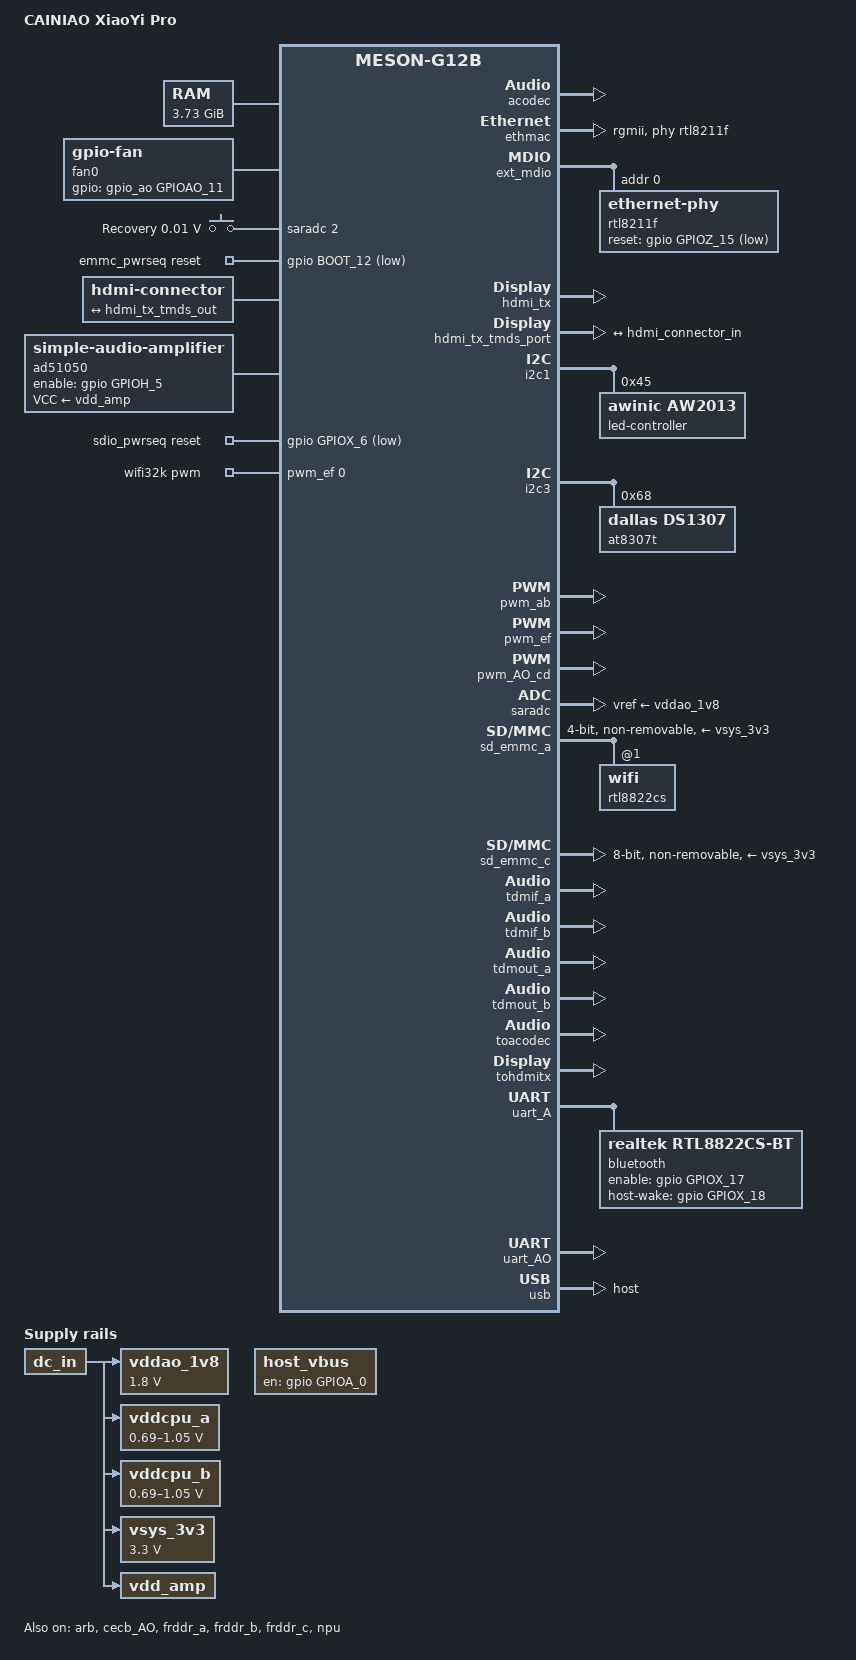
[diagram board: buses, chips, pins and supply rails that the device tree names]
// SPDX-License-Identifier: (GPL-2.0+ OR MIT)
/*
 * Copyright (c) 2019 BayLibre, SAS
 * Copyright (c) 2019 Neil Armstrong <narmstrong@baylibre.com>
 * Copyright (c) 2019 Christian Hewitt <christianshewitt@gmail.com>
 * Copyright (c) 2025 retro98boy <retro98boy@qq.com>
 */

/dts-v1/;

#include "meson-g12b-a311d.dtsi"
#include <dt-bindings/input/input.h>
#include <dt-bindings/leds/common.h>
#include <dt-bindings/gpio/meson-g12a-gpio.h>
#include <dt-bindings/sound/meson-g12a-toacodec.h>
#include <dt-bindings/sound/meson-g12a-tohdmitx.h>

/ {
	compatible = "cainiao,xiaoyi-pro", "amlogic,a311d", "amlogic,g12b";
	model = "CAINIAO XiaoYi Pro";

	aliases {
		serial0 = &uart_AO;
		ethernet0 = &ethmac;
		rtc0 = &at8307t;
		rtc1 = &vrtc;
	};

	chosen {
		stdout-path = "serial0:115200n8";
	};

	memory@0 {
		device_type = "memory";
		reg = <0x0 0x0 0x0 0xee6b2800>; /* 4GB */
	};

	multi-led {
		compatible = "leds-group-multicolor";
		color = <LED_COLOR_ID_RGB>;
		function = LED_FUNCTION_INDICATOR;
		leds = <&led0>, <&led1>, <&led2>;
	};

	fan0: gpio-fan {
		compatible = "gpio-fan";
		gpio-fan,speed-map = <0 0 3000 1>;
		gpios = <&gpio_ao GPIOAO_11 GPIO_ACTIVE_HIGH>;
		#cooling-cells = <2>;
	};

	adc-keys {
		compatible = "adc-keys";
		io-channels = <&saradc 2>;
		io-channel-names = "buttons";
		keyup-threshold-microvolt = <1710000>;
		poll-interval = <100>;

		button-recovery {
			label = "Recovery";
			linux,code = <KEY_VENDOR>;
			press-threshold-microvolt = <10000>;
		};
	};

	emmc_pwrseq: emmc-pwrseq {
		compatible = "mmc-pwrseq-emmc";
		reset-gpios = <&gpio BOOT_12 GPIO_ACTIVE_LOW>;
	};

	hdmi-connector {
		compatible = "hdmi-connector";
		type = "a";

		port {
			hdmi_connector_in: endpoint {
				remote-endpoint = <&hdmi_tx_tmds_out>;
			};
		};
	};

	ad51050: speaker-amplifier {
		compatible = "simple-audio-amplifier";
		enable-gpios = <&gpio GPIOH_5 GPIO_ACTIVE_HIGH>;
		VCC-supply = <&vdd_amp>;
		sound-name-prefix = "Speaker Amplifier";
	};

	sdio_pwrseq: sdio-pwrseq {
		compatible = "mmc-pwrseq-simple";
		reset-gpios = <&gpio GPIOX_6 GPIO_ACTIVE_LOW>;
		clocks = <&wifi32k>;
		clock-names = "ext_clock";
	};

	wifi32k: wifi32k {
		compatible = "pwm-clock";
		#clock-cells = <0>;
		clock-frequency = <32768>;
		pwms = <&pwm_ef 0 30518 0>; /* PWM_E at 32.768KHz */
	};

	dc_in: regulator-dc-in {
		compatible = "regulator-fixed";
		regulator-name = "dc_in";
		regulator-always-on;
		regulator-boot-on;
	};

	vddao_1v8: regulator-vddao-1v8 {
		compatible = "regulator-fixed";
		regulator-name = "vddao_1v8";
		regulator-min-microvolt = <1800000>;
		regulator-max-microvolt = <1800000>;
		regulator-always-on;
		regulator-boot-on;
		vin-supply = <&dc_in>;
	};

	vddcpu_a: regulator-vddcpu-a {
		compatible = "pwm-regulator";
		regulator-name = "VDDCPU_A";
		regulator-min-microvolt = <690000>;
		regulator-max-microvolt = <1050000>;
		pwm-supply = <&dc_in>;
		pwms = <&pwm_ab 0 1250 0>;
		pwm-dutycycle-range = <100 0>;
		regulator-boot-on;
		regulator-always-on;
	};

	vddcpu_b: regulator-vddcpu-b {
		compatible = "pwm-regulator";
		regulator-name = "VDDCPU_B";
		regulator-min-microvolt = <690000>;
		regulator-max-microvolt = <1050000>;
		pwm-supply = <&dc_in>;
		pwms = <&pwm_AO_cd 1 1250 0>;
		pwm-dutycycle-range = <100 0>;
		regulator-boot-on;
		regulator-always-on;
	};

	vsys_3v3: regulator-vsys-3v3 {
		compatible = "regulator-fixed";
		regulator-name = "vsys_3v3";
		regulator-min-microvolt = <3300000>;
		regulator-max-microvolt = <3300000>;
		regulator-always-on;
		regulator-boot-on;
		vin-supply = <&dc_in>;
	};

	host_vbus: regulator-host-vbus {
		compatible = "regulator-fixed";
		enable-active-high;
		gpio = <&gpio GPIOA_0 GPIO_ACTIVE_HIGH>;
		regulator-name = "host_vbus";
		regulator-always-on;
		regulator-boot-on;
	};

	vdd_amp: regulator-vdd-amp {
		compatible = "regulator-fixed";
		regulator-name = "vdd_amp";
		regulator-always-on;
		regulator-boot-on;
		vin-supply = <&dc_in>;
	};

	/* Similar to CAINIAO CNIoT-CORE */
	sound {
		compatible = "amlogic,axg-sound-card";
		model = "cniot-core";
		audio-widgets = "Speaker", "Internal Speaker";
		audio-aux-devs = <&tdmout_a>, <&tdmout_b>, <&ad51050>;
		audio-routing = "TDMOUT_A IN 0", "FRDDR_A OUT 0",
				"TDMOUT_A IN 1", "FRDDR_B OUT 0",
				"TDMOUT_A IN 2", "FRDDR_C OUT 0",
				"TDM_A Playback", "TDMOUT_A OUT",
				"TDMOUT_B IN 0", "FRDDR_A OUT 1",
				"TDMOUT_B IN 1", "FRDDR_B OUT 1",
				"TDMOUT_B IN 2", "FRDDR_C OUT 1",
				"TDM_B Playback", "TDMOUT_B OUT",
				"Speaker Amplifier INL", "ACODEC LOLP",
				"Speaker Amplifier INR", "ACODEC LORP",
				"Internal Speaker", "Speaker Amplifier OUTL",
				"Internal Speaker", "Speaker Amplifier OUTR";

		clocks = <&clkc CLKID_MPLL2>,
			 <&clkc CLKID_MPLL0>,
			 <&clkc CLKID_MPLL1>;

		assigned-clocks = <&clkc CLKID_MPLL2>,
				  <&clkc CLKID_MPLL0>,
				  <&clkc CLKID_MPLL1>;
		assigned-clock-parents = <0>, <0>, <0>;
		assigned-clock-rates = <294912000>,
				       <270950400>,
				       <393216000>;

		dai-link-0 {
			sound-dai = <&frddr_a>;
		};

		dai-link-1 {
			sound-dai = <&frddr_b>;
		};

		dai-link-2 {
			sound-dai = <&frddr_c>;
		};

		/* 8ch hdmi interface */
		dai-link-3 {
			sound-dai = <&tdmif_a>;
			dai-format = "i2s";
			dai-tdm-slot-tx-mask-0 = <1 1>;
			dai-tdm-slot-tx-mask-1 = <1 1>;
			dai-tdm-slot-tx-mask-2 = <1 1>;
			dai-tdm-slot-tx-mask-3 = <1 1>;
			mclk-fs = <256>;

			codec-0 {
				sound-dai = <&tohdmitx TOHDMITX_I2S_IN_A>;
			};

			codec-1 {
				sound-dai = <&toacodec TOACODEC_IN_A>;
			};
		};

		/* 8ch hdmi interface */
		dai-link-4 {
			sound-dai = <&tdmif_b>;
			dai-format = "i2s";
			dai-tdm-slot-tx-mask-0 = <1 1>;
			dai-tdm-slot-tx-mask-1 = <1 1>;
			dai-tdm-slot-tx-mask-2 = <1 1>;
			dai-tdm-slot-tx-mask-3 = <1 1>;
			mclk-fs = <256>;

			codec-0 {
				sound-dai = <&tohdmitx TOHDMITX_I2S_IN_B>;
			};

			codec-1 {
				sound-dai = <&toacodec TOACODEC_IN_B>;
			};
		};

		/* hdmi glue */
		dai-link-5 {
			sound-dai = <&tohdmitx TOHDMITX_I2S_OUT>;

			codec {
				sound-dai = <&hdmi_tx>;
			};
		};

		/* acodec glue */
		dai-link-6 {
			sound-dai = <&toacodec TOACODEC_OUT>;

			codec {
				sound-dai = <&acodec>;
			};
		};
	};
};

&acodec {
	AVDD-supply = <&vddao_1v8>;
	status = "okay";
};

&arb {
	status = "okay";
};

&clkc_audio {
	status = "okay";
};

&cecb_AO {
	pinctrl-0 = <&cec_ao_b_h_pins>;
	pinctrl-names = "default";
	status = "okay";
	hdmi-phandle = <&hdmi_tx>;
};

&cpu0 {
	cpu-supply = <&vddcpu_b>;
	operating-points-v2 = <&cpu_opp_table_0>;
	clocks = <&clkc CLKID_CPU_CLK>;
	clock-latency = <50000>;
};

&cpu1 {
	cpu-supply = <&vddcpu_b>;
	operating-points-v2 = <&cpu_opp_table_0>;
	clocks = <&clkc CLKID_CPU_CLK>;
	clock-latency = <50000>;
};

&cpu100 {
	cpu-supply = <&vddcpu_a>;
	operating-points-v2 = <&cpub_opp_table_1>;
	clocks = <&clkc CLKID_CPUB_CLK>;
	clock-latency = <50000>;
};

&cpu101 {
	cpu-supply = <&vddcpu_a>;
	operating-points-v2 = <&cpub_opp_table_1>;
	clocks = <&clkc CLKID_CPUB_CLK>;
	clock-latency = <50000>;
};

&cpu102 {
	cpu-supply = <&vddcpu_a>;
	operating-points-v2 = <&cpub_opp_table_1>;
	clocks = <&clkc CLKID_CPUB_CLK>;
	clock-latency = <50000>;
};

&cpu103 {
	cpu-supply = <&vddcpu_a>;
	operating-points-v2 = <&cpub_opp_table_1>;
	clocks = <&clkc CLKID_CPUB_CLK>;
	clock-latency = <50000>;
};

&cpu_thermal {
	trips {
		cpu_active: cpu-active {
			temperature = <55000>; /* millicelsius */
			hysteresis = <5000>; /* millicelsius */
			type = "active";
		};
	};

	cooling-maps {
		map2 {
			trip = <&cpu_active>;
			cooling-device = <&fan0 THERMAL_NO_LIMIT THERMAL_NO_LIMIT>;
		};
	};
};

&ethmac {
	pinctrl-0 = <&eth_pins>, <&eth_rgmii_pins>;
	pinctrl-names = "default";
	status = "okay";
	phy-mode = "rgmii";
	phy-handle = <&rtl8211f>;
	amlogic,tx-delay-ns = <2>;
};

&ext_mdio {
	rtl8211f: ethernet-phy@0 {
		reg = <0>;
		max-speed = <1000>;

		reset-assert-us = <10000>;
		reset-deassert-us = <80000>;
		reset-gpios = <&gpio GPIOZ_15 (GPIO_ACTIVE_LOW | GPIO_OPEN_DRAIN)>;

		interrupt-parent = <&gpio_intc>;
		/* MAC_INTR on GPIOZ_14 */
		interrupts = <IRQID_GPIOZ_14 IRQ_TYPE_LEVEL_LOW>;

		realtek,led-data = <0xc160>;
	};
};

&frddr_a {
	status = "okay";
};

&frddr_b {
	status = "okay";
};

&frddr_c {
	status = "okay";
};

&hdmi_tx {
	status = "okay";
	pinctrl-0 = <&hdmitx_hpd_pins>, <&hdmitx_ddc_pins>;
	pinctrl-names = "default";
};

&hdmi_tx_tmds_port {
	hdmi_tx_tmds_out: endpoint {
		remote-endpoint = <&hdmi_connector_in>;
	};
};

&i2c1 {
	status = "okay";
	pinctrl-0 = <&i2c1_sda_h6_pins>, <&i2c1_sck_h7_pins>;
	pinctrl-names = "default";

	led-controller@45 {
		compatible = "awinic,aw2013";
		reg = <0x45>;

		#address-cells = <1>;
		#size-cells = <0>;

		led0: led@0 {
			reg = <0>;
			color = <LED_COLOR_ID_RED>;
			function = LED_FUNCTION_INDICATOR;
			led-max-microamp = <5000>;
		};

		led1: led@1 {
			reg = <1>;
			color = <LED_COLOR_ID_GREEN>;
			function = LED_FUNCTION_INDICATOR;
			led-max-microamp = <5000>;
		};

		led2: led@2 {
			reg = <2>;
			color = <LED_COLOR_ID_BLUE>;
			function = LED_FUNCTION_INDICATOR;
			led-max-microamp = <5000>;
		};
	};
};

&i2c3 {
	status = "okay";
	pinctrl-0 = <&i2c3_sda_a_pins>, <&i2c3_sck_a_pins>;
	pinctrl-names = "default";

	at8307t: rtc@68 {
		compatible = "dallas,ds1307";
		reg = <0x68>;
	};
};

&npu {
	status = "okay";
};

&pwm_ab {
	status = "okay";
	pinctrl-0 = <&pwm_a_e_pins>;
	pinctrl-names = "default";
	clocks = <&xtal>;
	clock-names = "clkin0";
};

&pwm_ef {
	status = "okay";
	pinctrl-0 = <&pwm_e_pins>;
	pinctrl-names = "default";
};

&pwm_AO_cd {
	pinctrl-0 = <&pwm_ao_d_e_pins>;
	pinctrl-names = "default";
	clocks = <&xtal>;
	clock-names = "clkin1";
	status = "okay";
};

&saradc {
	status = "okay";
	vref-supply = <&vddao_1v8>;
};

&sd_emmc_a {
	status = "okay";
	pinctrl-0 = <&sdio_pins>;
	pinctrl-1 = <&sdio_clk_gate_pins>;
	pinctrl-names = "default", "clk-gate";
	#address-cells = <1>;
	#size-cells = <0>;

	bus-width = <4>;
	max-frequency = <50000000>;
	cap-sdio-irq;
	cap-sd-highspeed;
	non-removable;
	sd-uhs-ddr50;

	/* WiFi firmware requires power in suspend */
	keep-power-in-suspend;
	mmc-pwrseq = <&sdio_pwrseq>;
	vmmc-supply = <&vsys_3v3>;
	vqmmc-supply = <&vddao_1v8>;

	rtl8822cs: wifi@1 {
		reg = <1>;
		/*
		 * tested by voltmeter
		 * WL_REG_ON GPIOX_6
		 * WL_WAKE_HOST GPIOX_7
		 */
	};
};

&sd_emmc_c {
	status = "okay";
	pinctrl-0 = <&emmc_ctrl_pins>, <&emmc_data_8b_pins>, <&emmc_ds_pins>;
	pinctrl-1 = <&emmc_clk_gate_pins>;
	pinctrl-names = "default", "clk-gate";

	max-frequency = <200000000>;
	bus-width = <8>;
	cap-mmc-highspeed;
	mmc-ddr-1_8v;
	mmc-hs200-1_8v;
	non-removable;

	mmc-pwrseq = <&emmc_pwrseq>;
	vmmc-supply = <&vsys_3v3>;
	vqmmc-supply = <&vddao_1v8>;
};

&tdmif_a {
	status = "okay";
};

&tdmif_b {
	status = "okay";
};

&tdmout_a {
	status = "okay";
};

&tdmout_b {
	status = "okay";
};

&toacodec {
	status = "okay";
};

&tohdmitx {
	status = "okay";
};

&uart_A {
	status = "okay";
	pinctrl-0 = <&uart_a_pins>, <&uart_a_cts_rts_pins>;
	pinctrl-names = "default";
	uart-has-rtscts;

	bluetooth {
		compatible = "realtek,rtl8822cs-bt", "realtek,rtl8723bs-bt";
		enable-gpios = <&gpio GPIOX_17 GPIO_ACTIVE_HIGH>; /* tested by voltmeter */
		host-wake-gpios = <&gpio GPIOX_18 GPIO_ACTIVE_HIGH>; /* tested by voltmeter */
	};
};

&uart_AO {
	status = "okay";
	pinctrl-0 = <&uart_ao_a_pins>;
	pinctrl-names = "default";
};

&usb2_phy0 {
	phy-supply = <&dc_in>;
};

&usb2_phy1 {
	phy-supply = <&host_vbus>;
};

&usb3_pcie_phy {
	phy-supply = <&dc_in>;
};

&usb {
	status = "okay";
	dr_mode = "host";
};
